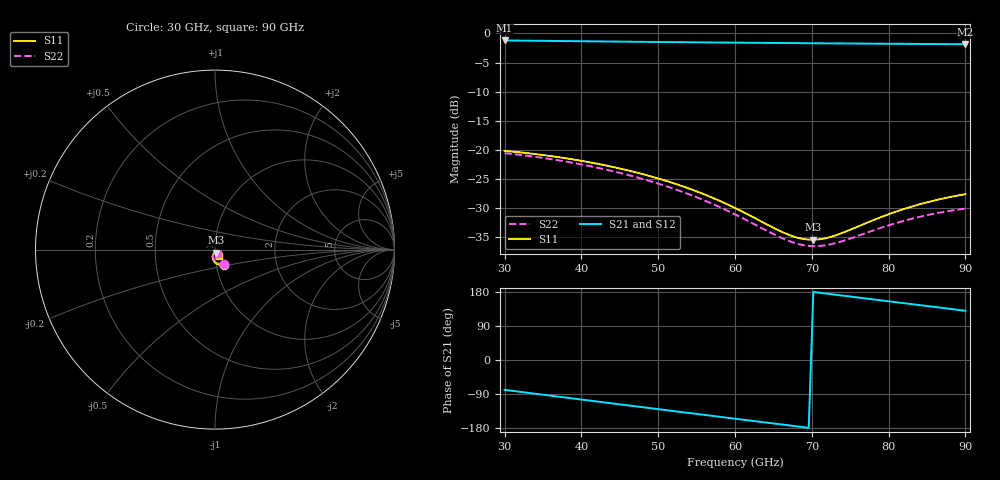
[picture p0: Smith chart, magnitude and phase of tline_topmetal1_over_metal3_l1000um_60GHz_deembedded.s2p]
! Created with skrf 2.0.1 (http://scikit-rf.org).
# GHz S DB R 50.0
!freq dBS11 angS11 dBS21 angS21 dBS12 angS12 dBS22 angS22
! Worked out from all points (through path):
!   101 points, 30 GHz to 90 GHz, reference 50 ohm
!   highest |S21| = -1.21 dB at 30 GHz (marker M1); lowest = -1.9 dB at 90 GHz (marker M2)
!   group delay of S21, straight-line fit = 7 ps
!   lowest |S11| = -35.4 dB at 70.2 GHz (marker M3), VSWR 1.03, Z = 50.3 - j1.66 ohm
!   |S11| at or under -10 dB: start of sweep to end of sweep
!   |S22| runs from -36.5 to -20.6 dB; largest |S21 - S12| = 9.8e-14
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30  -20.17 -58.2  -1.21 -78.8  -1.21 -78.8  -20.56 -57.5
32.4  -20.48 -63.8  -1.24 -84.9  -1.24 -84.9  -20.92 -63.1
34.8  -20.86 -69.4  -1.28 -91.1  -1.28 -91.1  -21.35 -68.5
37.2  -21.29 -74.9  -1.31 -97.2  -1.31 -97.2  -21.84 -73.9
40.2  -21.93 -81.6  -1.35 -104.8  -1.35 -104.8  -22.56 -80.5
42.6  -22.53 -86.8  -1.38 -110.9  -1.38 -110.9  -23.22 -85.6
45  -23.20 -91.8  -1.41 -117.0  -1.41 -117.0  -23.96 -90.5
47.4  -23.97 -96.6  -1.44 -123.1  -1.44 -123.1  -24.79 -95.1
50.4  -25.07 -102.0  -1.48 -130.7  -1.48 -130.7  -25.97 -100.3
55.2  -27.23 -108.8  -1.54 -142.8  -1.54 -142.8  -28.25 -106.8
57.6  -28.53 -110.8  -1.56 -148.8  -1.56 -148.8  -29.59 -108.6
60  -29.98 -111.3  -1.59 -154.9  -1.59 -154.9  -31.08 -109.0
63.6  -32.42 -107.5  -1.63 -163.9  -1.63 -163.9  -33.52 -105.0
66.6  -34.37 -97.5  -1.66 -171.4  -1.66 -171.4  -35.43 -95.5
68.4  -35.17 -88.2  -1.68 -176.0  -1.68 -176.0  -36.22 -86.9
70.2  -35.44 -77.3  -1.69 179.5  -1.69 179.5  -36.54 -77.0
71.4  -35.28 -70.3  -1.70 176.5  -1.70 176.5  -36.46 -70.6
73.2  -34.64 -61.3  -1.72 172.0  -1.72 172.0  -35.98 -62.3
76.8  -32.73 -51.1  -1.75 163.0  -1.75 163.0  -34.40 -52.4
80.4  -30.87 -48.6  -1.78 154.0  -1.78 154.0  -32.81 -49.7
85.2  -28.95 -51.5  -1.82 141.9  -1.82 141.9  -31.16 -52.3
90  -27.62 -57.7  -1.86 129.9  -1.86 129.9  -30.08 -58.2
